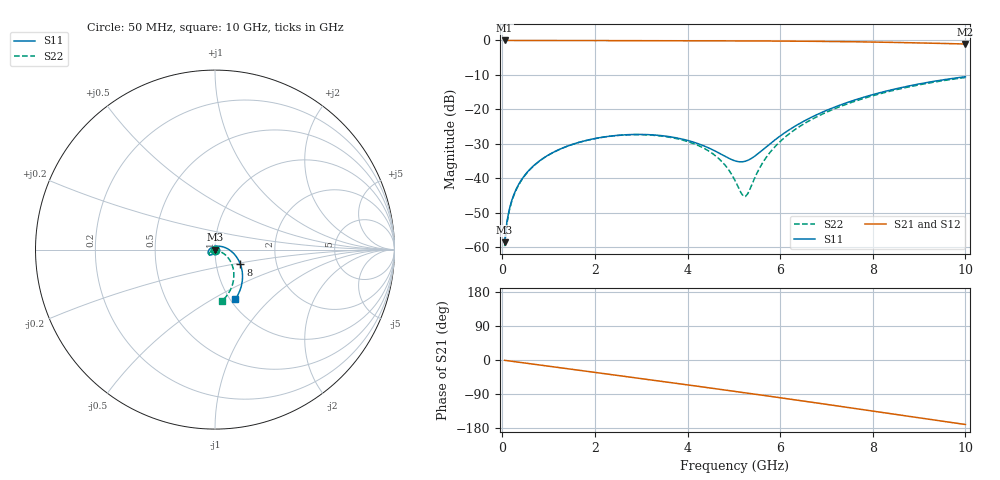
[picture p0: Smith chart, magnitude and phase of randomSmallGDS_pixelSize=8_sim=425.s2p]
! freq	dB(S11)	phase(S11)	dB(S12)	phase(S12)
!  dB(S21)	phase(S21)	dB(S22)	phase(S22)
!S-par simulation data
#  GHz  S  DB  R 50
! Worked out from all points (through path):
!   200 points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, 50 MHz to 10 GHz, reference 50 ohm
!   highest |S21| = 0.00 dB at 50 MHz (marker M1); lowest = -1.0 dB at 10 GHz (marker M2)
!   group delay of S21, straight-line fit = 47.3 ps
!   lowest |S11| = -58.6 dB at 50 MHz (marker M3), VSWR 1.00, Z = 50 - j0.118 ohm
!   |S11| at or under -10 dB: start of sweep to end of sweep
!   |S22| runs from -59.7 to -10.7 dB; largest |S21 - S12| = 0
!   S11 on the Smith chart (normalised r, x): 50 MHz: 1.00, -0.00; 8 GHz: 1.31, -0.22; 10 GHz: 1.06, -0.64
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0.05  -58.56 -90.2  -0.00 -0.8  -0.00 -0.8  -59.65 -100.6
0.1  -52.55 -91.8  -0.00 -1.6  -0.00 -1.6  -53.05 -97.5
0.2  -46.58 -94.2  -0.00 -3.3  -0.00 -3.3  -46.86 -96.4
0.35  -41.82 -97.3  -0.00 -5.8  -0.00 -5.8  -41.99 -97.5
0.5  -38.83 -100.1  -0.01 -8.2  -0.01 -8.2  -38.94 -99.5
1  -33.19 -109.2  -0.02 -16.4  -0.02 -16.4  -33.21 -107.0
1.75  -29.20 -122.9  -0.03 -28.6  -0.03 -28.6  -29.22 -118.7
2.55  -27.45 -138.3  -0.05 -41.7  -0.05 -41.7  -27.49 -131.0
3.4  -27.55 -156.6  -0.07 -55.7  -0.07 -55.7  -27.67 -143.3
4  -28.98 -173.0  -0.08 -65.6  -0.08 -65.6  -29.31 -151.0
4.45  -31.13 169.1  -0.10 -73.2  -0.10 -73.2  -32.00 -154.7
4.8  -33.52 145.9  -0.11 -79.1  -0.11 -79.1  -35.99 -152.9
5.05  -35.01 118.9  -0.12 -83.3  -0.12 -83.3  -41.27 -138.2
5.2  -35.16 98.3  -0.13 -85.8  -0.13 -85.8  -45.05 -102.9
5.25  -35.01 91.2  -0.13 -86.7  -0.13 -86.7  -45.24 -84.2
5.6  -31.98 50.4  -0.15 -92.7  -0.15 -92.7  -35.96 -25.8
5.85  -29.23 32.4  -0.16 -97.0  -0.16 -97.0  -31.36 -21.6
6.2  -25.87 15.9  -0.19 -103.0  -0.19 -103.0  -27.02 -22.9
6.7  -22.11 -0.3  -0.24 -111.8  -0.24 -111.8  -22.77 -28.8
8  -15.71 -30.2  -0.46 -134.7  -0.46 -134.7  -16.03 -49.0
8.35  -14.49 -37.2  -0.54 -141.0  -0.54 -141.0  -14.78 -54.8
10  -10.51 -67.7  -1.03 -170.2  -1.03 -170.2  -10.74 -82.8
